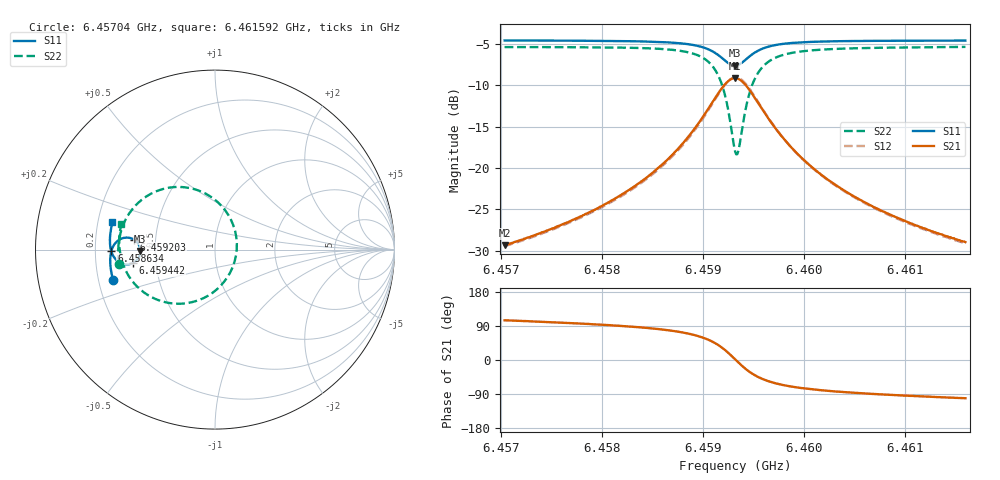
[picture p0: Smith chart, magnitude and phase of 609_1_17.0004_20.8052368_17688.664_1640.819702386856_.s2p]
#  HZ  S  RI  R  50.00
! Rohde & Schwarz Vector Network Analyzer
! Rohde-Schwarz,ZNB20-2Port,1311601062101988,3.16
! Created: UTC 3/20/2024, 11:19:21 PM
! freq[Hz]  re:S11  im:S11  re:S21  im:S21  re:S12  im:S12  re:S22  im:S22
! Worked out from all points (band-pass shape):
!   401 points, 6.45704 GHz to 6.461592 GHz, reference 50 ohm
!   highest |S21| = -9.11 dB at 6.459316 GHz (marker M1); lowest = -29.4 dB at 6.45704 GHz (marker M2)
!   |S21| within 3 dB of the highest: 6.459089 GHz to 6.459544 GHz (454.8 kHz wide, 0.00704 % of centre)
!   lowest |S11| = -7.6 dB at 6.459316 GHz (marker M3), VSWR 2.42, Z = 20.6 - j0.4 ohm
!   |S11| at or under -10 dB: nowhere
!   |S22| runs from -18.3 to -5.3 dB; largest |S21 - S12| = 0.014
!   S11 on the Smith chart (normalised r, x): 6.45704 GHz: 0.26, -0.13; 6.458634 GHz: 0.27, -0.01; 6.459203 GHz: 0.38, +0.05; 6.459442 GHz: 0.37, -0.07; 6.461592 GHz: 0.26, +0.12
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6.4570405e9  -0.5681 -0.1674  -0.00866 0.0329  -0.00695 0.0329  -0.5341 -0.0791
6.4578029e9  -0.5815 -0.1004  -0.0053 0.0509  -0.00274 0.0504  -0.5386 0.0111
6.4582126e9  -0.584 -0.0591  0.000587 0.07  0.00392 0.0686  -0.5301 0.0765
6.4585654e9  -0.5799 -0.0168  0.0151 0.0998  0.019 0.097  -0.5034 0.1564
6.4586337e9  -0.5775 -0.00745  0.0205 0.1083  0.0247 0.1049  -0.4932 0.1767
6.4588271e9  -0.5646 0.0231  0.0474 0.1395  0.0516 0.1344  -0.4424 0.2461
6.4589751e9  -0.5416 0.0493  0.0933 0.1701  0.0965 0.1631  -0.3577 0.3109
6.4591116e9  -0.4974 0.0667  0.1817 0.1864  0.1824 0.1789  -0.196 0.349
6.4592027e9  -0.4522 0.0562  0.2725 0.1546  0.2727 0.1487  -0.0275 0.2972
6.459271e9  -0.4228 0.0236  0.3337 0.0816  0.3359 0.0762  0.0894 0.1653
6.4593165e9  -0.4159 -0.00801  0.35 0.0127  0.3538 0.0055  0.1217 0.036
6.4593506e9  -0.4199 -0.032  0.344 -0.0406  0.348 -0.0498  0.1095 -0.065
6.4593961e9  -0.4358 -0.0583  0.3146 -0.1012  0.3169 -0.1135  0.0502 -0.18
6.4594417e9  -0.4583 -0.075  0.2718 -0.1428  0.271 -0.1563  -0.0369 -0.2557
6.4595327e9  -0.5022 -0.0819  0.1856 -0.174  0.1793 -0.1857  -0.2089 -0.3015
6.459601e9  -0.5268 -0.0743  0.1364 -0.1715  0.1283 -0.1806  -0.3038 -0.2857
6.4596806e9  -0.5465 -0.0611  0.0965 -0.1592  0.0879 -0.1655  -0.3787 -0.2502
6.45984e9  -0.5682 -0.0334  0.0511 -0.1306  0.0434 -0.1334  -0.4599 -0.1765
6.4600789e9  -0.581 0.00234  0.022 -0.0985  0.016 -0.0991  -0.5079 -0.093
6.4604317e9  -0.5854 0.0444  0.00558 -0.0706  0.00151 -0.0701  -0.5295 -0.011
6.4608414e9  -0.5834 0.0857  -0.00181 -0.0524  -0.00454 -0.0516  -0.5331 0.0552
6.4615925e9  -0.5712 0.1524  -0.00671 -0.035  -0.00852 -0.034  -0.5216 0.1447
